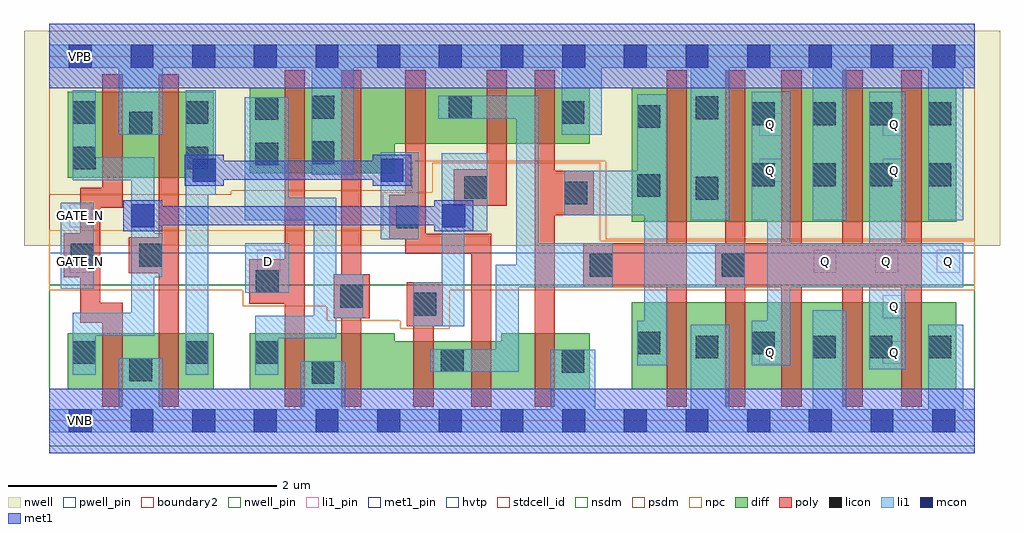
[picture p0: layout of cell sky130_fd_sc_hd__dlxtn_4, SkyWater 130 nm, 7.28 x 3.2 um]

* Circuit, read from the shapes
.subckt sky130_fd_sc_hd__dlxtn_4 D GATE_N Q VGND VNB VPB VPWR
XM1 VGND GATE_N n1 VNB sky130_fd_pr__nfet_01v8 w=0.42 l=0.15
XM2 n2 n1 VGND VNB sky130_fd_pr__nfet_01v8 w=0.42 l=0.15
XM3 VGND D n3 VNB sky130_fd_pr__nfet_01v8 w=0.42 l=0.15
XM4 n4 n3 VGND VNB sky130_fd_pr__nfet_01v8 w=0.42 l=0.15
XM5 n5 n1 n4 VNB sky130_fd_pr__nfet_01v8 w=0.36 l=0.15
XM6 n6 n2 n5 VNB sky130_fd_pr__nfet_01v8 w=0.36 l=0.15
XM7 VGND n7 n6 VNB sky130_fd_pr__nfet_01v8 w=0.42 l=0.15
XM8 VGND n5 n7 VNB sky130_fd_pr__nfet_01v8 w=0.65 l=0.15
XM9 Q n7 VGND VNB sky130_fd_pr__nfet_01v8 w=0.65 l=0.15 m=4
XM10 VPWR GATE_N n1 VPB sky130_fd_pr__pfet_01v8_hvt w=0.64 l=0.15
XM11 n2 n1 VPWR VPB sky130_fd_pr__pfet_01v8_hvt w=0.64 l=0.15
XM12 VPWR D n3 VPB sky130_fd_pr__pfet_01v8_hvt w=0.64 l=0.15
XM13 n8 n3 VPWR VPB sky130_fd_pr__pfet_01v8_hvt w=0.64 l=0.15
XM14 n5 n2 n8 VPB sky130_fd_pr__pfet_01v8_hvt w=0.42 l=0.15
XM15 n9 n1 n5 VPB sky130_fd_pr__pfet_01v8_hvt w=0.42 l=0.15
XM16 VPWR n7 n9 VPB sky130_fd_pr__pfet_01v8_hvt w=0.42 l=0.15
XM17 VPWR n5 n7 VPB sky130_fd_pr__pfet_01v8_hvt w=1 l=0.15
XM18 Q n7 VPWR VPB sky130_fd_pr__pfet_01v8_hvt w=1 l=0.15 m=4
.ends

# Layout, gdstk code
import gdstk
lib = gdstk.Library(unit=1e-6, precision=1e-09)
def R(c, l, rs):  # rectangles x0, y0, x1, y1
    for r in rs: c.add(gdstk.rectangle(r[:2], r[2:], *l))
def A(c, l, x, y, w, h, nx, ny, dx, dy):  # array of equal rectangles
    R(c, l, [(x+i*dx, y+j*dy, x+i*dx+w, y+j*dy+h) for i in range(nx) for j in range(ny)])
def P(c, l, *ps):  # polygons
    for p in ps: c.add(gdstk.Polygon(p, *l))
nwell_pin = (64, 16)
nwell = (64, 20)
diff = (65, 20)
poly = (66, 20)
licon = (66, 44)
li1_pin = (67, 16)
li1 = (67, 20)
mcon = (67, 44)
met1_pin = (68, 16)
met1 = (68, 20)
hvtp = (78, 44)
stdcell_id = (81, 4)
nsdm = (93, 44)
psdm = (94, 20)
npc = (95, 20)
pwell_pin = (122, 16)
boundary2 = (236, 0)

sky130_fd_sc_hd__dlxtn_4 = lib.new_cell('sky130_fd_sc_hd__dlxtn_4')
R(sky130_fd_sc_hd__dlxtn_4, nwell_pin, [(0.145,2.635,0.315,2.805)])
R(sky130_fd_sc_hd__dlxtn_4, nwell, [(-0.19,1.305,7.09,2.91)])
R(sky130_fd_sc_hd__dlxtn_4, diff, [(0.135,0.235,1.225,0.655), (4.345,0.235,6.765,0.885), (4.345,1.485,6.765,2.485), (0.135,1.815,1.225,2.455)])
P(sky130_fd_sc_hd__dlxtn_4, diff, [(4.03,0.655),(3.37,0.655),(3.37,0.595),(2.575,0.595),(2.575,0.655),(1.495,0.655),(1.495,0.235),(4.03,0.235)],
  [(4.03,2.485),(1.495,2.485),(1.495,1.845),(2.575,1.845),(2.575,2.065),(4.03,2.065)])
P(sky130_fd_sc_hd__dlxtn_4, poly, [(6.505,2.615),(6.355,2.615),(6.355,1.325),(6.065,1.325),(6.065,2.615),(5.915,2.615),(5.915,1.325),(5.61,1.325),(5.61,2.615),(5.46,2.615),(5.46,1.325),(5.19,1.325),(5.19,2.615),(5.04,2.615),(5.04,1.325),(4.965,1.325),(4.965,0.995),(5.04,0.995),(5.04,0.105),(5.19,0.105),(5.19,0.995),(5.46,0.995),(5.46,0.105),(5.61,0.105),(5.61,0.995),(5.915,0.995),(5.915,0.105),(6.065,0.105),(6.065,0.995),(6.355,0.995),(6.355,0.105),(6.505,0.105)],
  [(4.755,2.615),(4.605,2.615),(4.605,1.325),(3.98,1.325),(3.98,0.995),(4.605,0.995),(4.605,0.105),(4.755,0.105)],
  [(4.06,1.865),(3.77,1.865),(3.77,2.615),(3.62,2.615),(3.62,0.105),(3.77,0.105),(3.77,1.535),(4.06,1.535)],
  [(3.41,2.615),(3.26,2.615),(3.26,1.875),(3.015,1.875),(3.015,1.605),(3.41,1.605)],
  [(3.295,1.395),(2.805,1.395),(2.805,2.615),(2.655,2.615),(2.655,1.685),(2.535,1.685),(2.535,1.355),(2.655,1.355),(2.655,1.245),(3.145,1.245),(3.145,0.105),(3.295,0.105)],
  [(2.935,1.035),(2.665,1.035),(2.665,0.705),(2.715,0.705),(2.715,0.105),(2.865,0.105),(2.865,0.705),(2.935,0.705)],
  [(2.39,1.095),(2.325,1.095),(2.325,2.615),(2.175,2.615),(2.175,1.095),(2.12,1.095),(2.12,0.765),(2.175,0.765),(2.175,0.105),(2.325,0.105),(2.325,0.765),(2.39,0.765)],
  [(1.905,2.615),(1.755,2.615),(1.755,1.205),(1.49,1.205),(1.49,0.875),(1.755,0.875),(1.755,0.105),(1.905,0.105)],
  [(0.965,2.585),(0.815,2.585),(0.815,1.37),(0.59,1.37),(0.59,1.1),(0.815,1.1),(0.815,0.105),(0.965,0.105)],
  [(0.545,0.88),(0.38,0.88),(0.38,1.59),(0.545,1.59),(0.545,2.585),(0.395,2.585),(0.395,1.74),(0.23,1.74),(0.23,1.4),(0.105,1.4),(0.105,1.07),(0.23,1.07),(0.23,0.73),(0.395,0.73),(0.395,0.105),(0.545,0.105)])
R(sky130_fd_sc_hd__dlxtn_4, licon, [(1.955,0.275,2.125,0.445), (0.595,0.295,0.765,0.465), (3.82,0.36,3.99,0.53), (2.92,0.365,3.09,0.535), (0.175,0.425,0.345,0.595), (1.015,0.425,1.185,0.595), (1.535,0.425,1.705,0.595), (4.82,0.465,4.99,0.635), (5.695,0.465,5.865,0.635), (6.115,0.465,6.285,0.635), (6.555,0.465,6.725,0.635), (4.385,0.495,4.555,0.665), (5.24,0.495,5.41,0.665), (2.715,0.785,2.885,0.955), (2.17,0.845,2.34,1.015), (1.54,0.955,1.71,1.125), (4.03,1.075,4.2,1.245), (5.015,1.075,5.185,1.245), (0.16,1.15,0.33,1.32), (0.67,1.15,0.84,1.32), (2.585,1.435,2.755,1.605), (3.84,1.615,4.01,1.785), (4.82,1.65,4.99,1.82), (3.095,1.655,3.265,1.825), (4.385,1.67,4.555,1.84), (5.24,1.75,5.41,1.92), (5.695,1.75,5.865,1.92), (6.115,1.75,6.285,1.92), (6.555,1.75,6.725,1.92), (0.175,1.875,0.345,2.045), (1.015,1.875,1.185,2.045), (1.535,1.905,1.705,2.075), (1.955,1.915,2.125,2.085), (0.595,2.135,0.765,2.305), (4.385,2.185,4.555,2.355), (5.24,2.205,5.41,2.375), (5.695,2.205,5.865,2.375), (6.115,2.205,6.285,2.375), (6.555,2.205,6.725,2.375), (0.175,2.215,0.345,2.385), (1.015,2.215,1.185,2.385), (3.82,2.215,3.99,2.385), (1.535,2.245,1.705,2.415), (4.82,2.25,4.99,2.42), (1.955,2.255,2.125,2.425), (2.98,2.255,3.15,2.425)])
A(sky130_fd_sc_hd__dlxtn_4, li1_pin, 5.7, 1.105, 0.17, 0.17, 3, 1, 0.46, 0)
R(sky130_fd_sc_hd__dlxtn_4, li1_pin, [(5.295,0.425,5.465,0.595), (6.215,0.425,6.385,0.595), (6.215,0.765,6.385,0.935), (0.15,1.105,0.32,1.275), (1.55,1.105,1.72,1.275), (0.15,1.445,0.32,1.615), (5.295,1.785,5.465,1.955), (6.215,1.785,6.385,1.955), (5.295,2.125,5.465,2.295), (6.215,2.125,6.385,2.295)])
R(sky130_fd_sc_hd__dlxtn_4, li1, [(1.46,0.955,1.79,1.325), (0.085,0.985,0.33,1.625), (2.47,1.355,2.755,2.005)])
P(sky130_fd_sc_hd__dlxtn_4, li1, [(6.9,0.085),(6.815,0.085),(6.815,0.715),(6.555,0.715),(6.555,0.085),(5.945,0.085),(5.945,0.825),(5.695,0.825),(5.695,0.085),(5.07,0.085),(5.07,0.715),(4.785,0.715),(4.785,0.085),(4.07,0.085),(4.07,0.53),(3.74,0.53),(3.74,0.085),(2.205,0.085),(2.205,0.445),(1.875,0.445),(1.875,0.085),(0.845,0.085),(0.845,0.465),(0.515,0.465),(0.515,0.085),(0,0.085),(0,-0.085),(6.9,-0.085)],
  [(6.9,2.805),(0,2.805),(0,2.635),(0.515,2.635),(0.515,2.135),(0.845,2.135),(0.845,2.635),(1.955,2.635),(1.955,1.835),(2.27,1.835),(2.27,2.635),(3.82,2.635),(3.82,2.135),(4.12,2.135),(4.12,2.635),(4.785,2.635),(4.785,1.495),(5.07,1.495),(5.07,2.635),(5.695,2.635),(5.695,1.495),(5.945,1.495),(5.945,2.635),(6.555,2.635),(6.555,1.495),(6.815,1.495),(6.815,2.635),(6.9,2.635)],
  [(6.815,1.325),(6.385,1.325),(6.385,2.455),(6.115,2.455),(6.115,1.325),(5.525,1.325),(5.525,2.455),(5.24,2.455),(5.24,1.495),(5.355,1.495),(5.355,0.745),(5.24,0.745),(5.24,0.415),(5.525,0.415),(5.525,0.995),(6.115,0.995),(6.115,0.385),(6.385,0.385),(6.385,0.995),(6.815,0.995)],
  [(5.185,1.325),(4.605,1.325),(4.605,2.435),(4.385,2.435),(4.385,1.865),(3.84,1.865),(3.84,1.535),(4.435,1.535),(4.435,0.745),(4.385,0.745),(4.385,0.415),(4.605,0.415),(4.605,0.995),(5.185,0.995)],
  [(4.2,1.325),(3.65,1.325),(3.65,2.425),(2.9,2.425),(2.9,2.255),(3.48,2.255),(3.48,1.165),(3.33,1.165),(3.33,0.535),(2.84,0.535),(2.84,0.365),(3.5,0.365),(3.5,0.995),(4.2,0.995)],
  [(3.265,1.995),(2.925,1.995),(2.925,1.035),(2.715,1.035),(2.715,0.705),(3.095,0.705),(3.095,1.415),(3.265,1.415)],
  [(2.34,1.095),(2.14,1.095),(2.14,1.665),(1.785,1.665),(1.785,2.415),(1.455,2.415),(1.455,1.495),(1.97,1.495),(1.97,0.785),(1.535,0.785),(1.535,0.345),(1.705,0.345),(1.705,0.615),(2.14,0.615),(2.14,0.765),(2.34,0.765)],
  [(1.24,2.465),(1.015,2.465),(1.015,0.345),(1.185,0.345),(1.185,1.685),(1.24,1.685)],
  [(0.84,1.4),(0.78,1.4),(0.78,1.965),(0.345,1.965),(0.345,2.465),(0.175,2.465),(0.175,1.795),(0.61,1.795),(0.61,0.805),(0.175,0.805),(0.175,0.345),(0.345,0.345),(0.345,0.635),(0.78,0.635),(0.78,1.07),(0.84,1.07)])
A(sky130_fd_sc_hd__dlxtn_4, mcon, 0.145, -0.085, 0.17, 0.17, 15, 2, 0.46, 2.72)
R(sky130_fd_sc_hd__dlxtn_4, mcon, [(0.61,1.445,0.78,1.615), (2.93,1.445,3.1,1.615), (1.07,1.785,1.24,1.955), (2.47,1.785,2.64,1.955)])
R(sky130_fd_sc_hd__dlxtn_4, met1_pin, [(0.145,-0.085,0.315,0.085), (0.145,2.635,0.315,2.805)])
P(sky130_fd_sc_hd__dlxtn_4, met1, [(3.16,1.645),(2.87,1.645),(2.87,1.6),(0.84,1.6),(0.84,1.645),(0.55,1.645),(0.55,1.415),(0.84,1.415),(0.84,1.46),(2.87,1.46),(2.87,1.415),(3.16,1.415)],
  [(2.7,1.985),(2.41,1.985),(2.41,1.94),(1.3,1.94),(1.3,1.985),(1.01,1.985),(1.01,1.755),(1.3,1.755),(1.3,1.8),(2.41,1.8),(2.41,1.755),(2.7,1.755)])
R(sky130_fd_sc_hd__dlxtn_4, hvtp, [(0,1.25,6.9,2.72)])
R(sky130_fd_sc_hd__dlxtn_4, stdcell_id, [(0,0,6.9,2.72)])
R(sky130_fd_sc_hd__dlxtn_4, nsdm, [(0,-0.19,6.9,1.015)])
P(sky130_fd_sc_hd__dlxtn_4, psdm, [(6.9,2.91),(0,2.91),(0,1.685),(1.355,1.685),(1.355,1.715),(2.705,1.715),(2.705,1.935),(4.15,1.935),(4.15,1.355),(6.9,1.355)])
P(sky130_fd_sc_hd__dlxtn_4, npc, [(6.9,1.345),(4.11,1.345),(4.11,1.925),(2.855,1.925),(2.855,1.705),(2.485,1.705),(2.485,1.42),(0,1.42),(0,0.975),(1.44,0.975),(1.44,0.855),(2.07,0.855),(2.07,0.745),(2.615,0.745),(2.615,0.685),(2.985,0.685),(2.985,0.975),(6.9,0.975)])
R(sky130_fd_sc_hd__dlxtn_4, pwell_pin, [(0.145,-0.085,0.315,0.085)])
R(sky130_fd_sc_hd__dlxtn_4, boundary2, [(0,0,6.9,2.72)])
sky130_fd_sc_hd__dlxtn_4.add(gdstk.FlexPath([(0,0),(6.9,0)], 0.48, ends="flush", simple_path=True, layer=68, datatype=20))  # met1
sky130_fd_sc_hd__dlxtn_4.add(gdstk.FlexPath([(0,2.72),(6.9,2.72)], 0.48, ends="flush", simple_path=True, layer=68, datatype=20))  # met1
sky130_fd_sc_hd__dlxtn_4.add(gdstk.Label('D', (1.635,1.19), layer=67, texttype=5))
sky130_fd_sc_hd__dlxtn_4.add(gdstk.Label('GATE_N', (0.23,1.19), layer=67, texttype=5))
sky130_fd_sc_hd__dlxtn_4.add(gdstk.Label('Q', (5.38,1.87), layer=67, texttype=5))
sky130_fd_sc_hd__dlxtn_4.add(gdstk.Label('GATE_N', (0.23,1.53), layer=67, texttype=5))
sky130_fd_sc_hd__dlxtn_4.add(gdstk.Label('Q', (5.38,2.21), layer=67, texttype=5))
sky130_fd_sc_hd__dlxtn_4.add(gdstk.Label('Q', (5.38,0.51), layer=67, texttype=5))
sky130_fd_sc_hd__dlxtn_4.add(gdstk.Label('Q', (5.785,1.19), layer=67, texttype=5))
sky130_fd_sc_hd__dlxtn_4.add(gdstk.Label('Q', (6.245,1.19), layer=67, texttype=5))
sky130_fd_sc_hd__dlxtn_4.add(gdstk.Label('Q', (6.705,1.19), layer=67, texttype=5))
sky130_fd_sc_hd__dlxtn_4.add(gdstk.Label('Q', (6.3,1.87), layer=67, texttype=5))
sky130_fd_sc_hd__dlxtn_4.add(gdstk.Label('Q', (6.3,2.21), layer=67, texttype=5))
sky130_fd_sc_hd__dlxtn_4.add(gdstk.Label('Q', (6.3,0.85), layer=67, texttype=5))
sky130_fd_sc_hd__dlxtn_4.add(gdstk.Label('Q', (6.3,0.51), layer=67, texttype=5))
sky130_fd_sc_hd__dlxtn_4.add(gdstk.Label('VNB', (0.23,0), layer=64, texttype=59))
sky130_fd_sc_hd__dlxtn_4.add(gdstk.Label('VPB', (0.23,2.72), layer=64, texttype=5))
sky130_fd_sc_hd__dlxtn_4.add(gdstk.Label('VPWR', (0.235,2.72), layer=68, texttype=5))
sky130_fd_sc_hd__dlxtn_4.add(gdstk.Label('VGND', (0.23,0), layer=68, texttype=5))
sky130_fd_sc_hd__dlxtn_4.add(gdstk.Label('dlxtn_4', (0,0), layer=83, texttype=44))

lib.write_gds('sky130_fd_sc_hd__dlxtn_4.gds')
